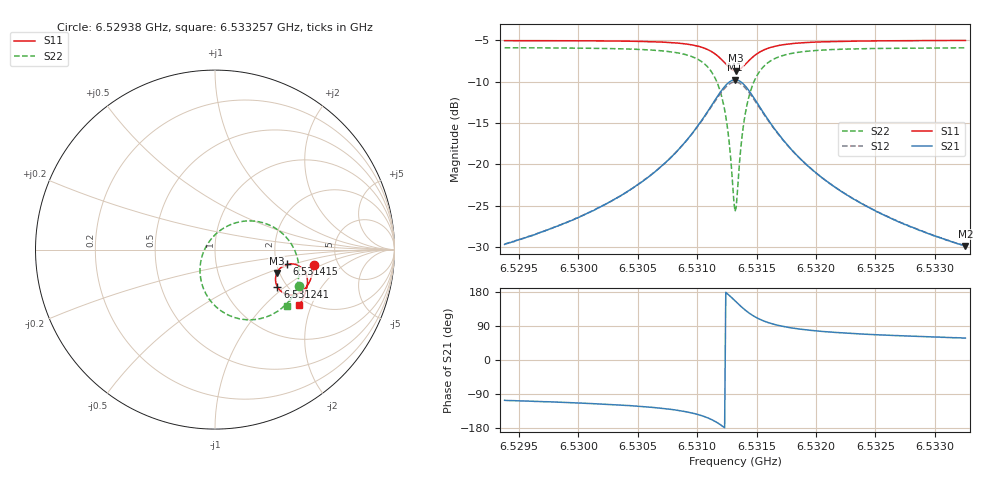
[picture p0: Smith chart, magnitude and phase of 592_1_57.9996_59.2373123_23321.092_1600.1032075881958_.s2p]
#  HZ  S  RI  R  50.00
! Rohde & Schwarz Vector Network Analyzer
! Rohde-Schwarz,ZNB20-2Port,1311601062101988,3.16
! Created: UTC 3/21/2024, 1:16:51 AM
! freq[Hz]  re:S11  im:S11  re:S21  im:S21  re:S12  im:S12  re:S22  im:S22
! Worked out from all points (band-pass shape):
!   401 points, 6.52938 GHz to 6.533257 GHz, reference 50 ohm
!   highest |S21| = -9.75 dB at 6.531318 GHz (marker M1); lowest = -29.9 dB at 6.533257 GHz (marker M2)
!   |S21| within 3 dB of the highest: 6.531126 GHz to 6.531513 GHz (387.2 kHz wide, 0.00593 % of centre)
!   lowest |S11| = -8.7 dB at 6.531328 GHz (marker M3), VSWR 2.17, Z = 96.8 - j29.2 ohm
!   |S11| at or under -10 dB: nowhere
!   |S22| runs from -25.7 to -5.9 dB; largest |S21 - S12| = 0.013
!   S11 on the Smith chart (normalised r, x): 6.52938 GHz: 3.33, -0.83; 6.531241 GHz: 1.79, -0.89; 6.531415 GHz: 2.28, -0.45; 6.533257 GHz: 1.83, -1.64
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6.5293797e9  0.5541 -0.0856  -0.00928 -0.0315  -0.00997 -0.0315  0.4661 -0.2021
6.5300291e9  0.5416 -0.1401  -0.0197 -0.0447  -0.0208 -0.0443  0.4315 -0.2621
6.5303877e9  0.5289 -0.174  -0.033 -0.0582  -0.0344 -0.0572  0.3963 -0.3041
6.5306785e9  0.5106 -0.2059  -0.0565 -0.076  -0.0587 -0.0743  0.343 -0.3473
6.5309111e9  0.4797 -0.2363  -0.1022 -0.0957  -0.1049 -0.0919  0.2517 -0.3847
6.5310759e9  0.4312 -0.2529  -0.1774 -0.0981  -0.1794 -0.0904  0.1149 -0.3801
6.5311728e9  0.3826 -0.2421  -0.2519 -0.0624  -0.2496 -0.0517  -0.00702 -0.3062
6.5312406e9  0.348 -0.2074  -0.3012 0.00795  -0.2932 0.0179  -0.0761 -0.1796
6.5312697e9  0.3391 -0.1837  -0.3107 0.0516  -0.3003 0.0596  -0.0835 -0.1062
6.5313085e9  0.339 -0.1478  -0.3036 0.1154  -0.2914 0.1195  -0.0599 -0.0032
6.5313182e9  0.3414 -0.139  -0.2979 0.131  -0.2856 0.1339  -0.0475 0.0208
6.5313279e9  0.3448 -0.1303  -0.2905 0.1458  -0.2784 0.1478  -0.0329 0.0438
6.5313376e9  0.349 -0.1222  -0.2817 0.1598  -0.2698 0.1607  -0.0163 0.0651
6.5313763e9  0.3729 -0.0958  -0.2363 0.2042  -0.2264 0.2019  0.0659 0.1294
6.5314151e9  0.4021 -0.082  -0.1836 0.2272  -0.1765 0.2232  0.1563 0.1578
6.5314829e9  0.4482 -0.0826  -0.1035 0.2265  -0.1001 0.2229  0.2899 0.142
6.5315799e9  0.4877 -0.1066  -0.0359 0.191  -0.0343 0.1891  0.3983 0.0669
6.5317253e9  0.5102 -0.1446  0.00364 0.1401  0.00513 0.1395  0.4555 -0.0349
6.5319676e9  0.515 -0.189  0.0196 0.091  0.0206 0.0906  0.4674 -0.1366
6.5322777e9  0.5079 -0.2271  0.0214 0.0605  0.0225 0.0602  0.4543 -0.2066
6.532617e9  0.4962 -0.2588  0.0201 0.0433  0.021 0.043  0.4357 -0.2536
6.5332567e9  0.4707 -0.3074  0.017 0.0272  0.0176 0.0268  0.4004 -0.3116
